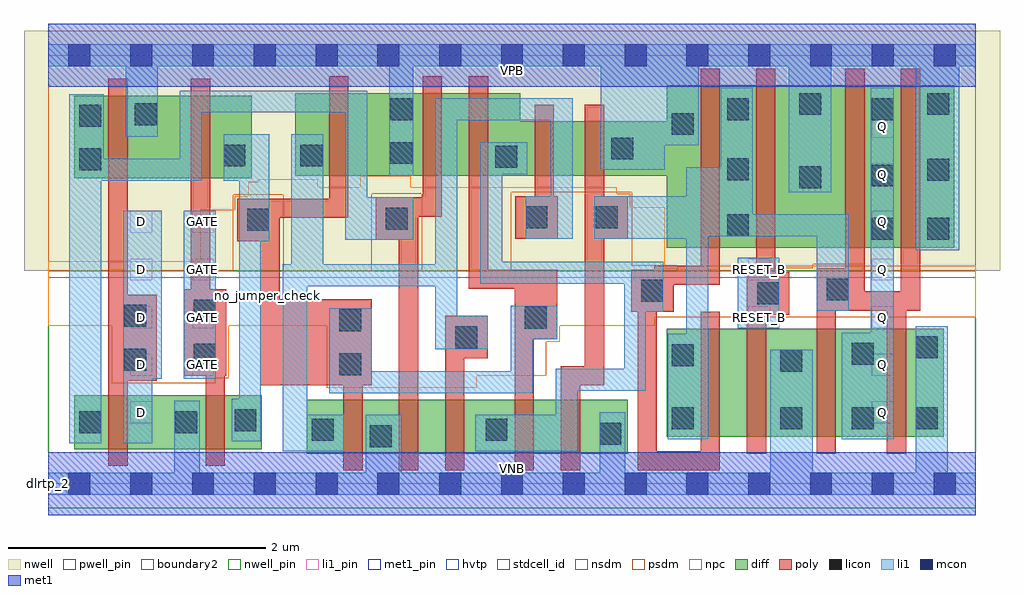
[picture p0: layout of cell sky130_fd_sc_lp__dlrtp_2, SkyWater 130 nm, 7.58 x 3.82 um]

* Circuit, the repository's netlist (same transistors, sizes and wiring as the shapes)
* Copyright 2020 The SkyWater PDK Authors
*
* Licensed under the Apache License, Version 2.0 (the "License");
* you may not use this file except in compliance with the License.
* You may obtain a copy of the License at
*
*     https://www.apache.org/licenses/LICENSE-2.0
*
* Unless required by applicable law or agreed to in writing, software
* distributed under the License is distributed on an "AS IS" BASIS,
* WITHOUT WARRANTIES OR CONDITIONS OF ANY KIND, either express or implied.
* See the License for the specific language governing permissions and
* limitations under the License.
*
* SPDX-License-Identifier: Apache-2.0

.SUBCKT sky130_fd_sc_lp__dlrtp_2 D GATE RESET_B VGND VNB VPB VPWR Q
*.PININFO D:I GATE:I RESET_B:I VGND:I VNB:I VPB:I VPWR:I Q:O
MI635 clkpos clkneg VPWR VPB sky130_fd_pr__pfet_01v8_hvt m=1 w=0.64U l=0.15U mult=1
+ sa=0.265 sb=0.265 sd=0.28 area=0.063 perim=1.14
MI17 M0 clkneg net51 VPB sky130_fd_pr__pfet_01v8_hvt m=1 w=0.64U l=0.15U mult=1
+ sa=0.265 sb=0.265 sd=0.28 area=0.063 perim=1.14
MI650 Q m1 VPWR VPB sky130_fd_pr__pfet_01v8_hvt m=2 w=1.26U l=0.15U mult=1 sa=0.265
+ sb=0.265 sd=0.28 area=0.063 perim=1.14
MI633 clkneg GATE VPWR VPB sky130_fd_pr__pfet_01v8_hvt m=1 w=0.64U l=0.15U mult=1
+ sa=0.265 sb=0.265 sd=0.28 area=0.063 perim=1.14
MI658 m1 RESET_B VPWR VPB sky130_fd_pr__pfet_01v8_hvt m=1 w=1.26U l=0.15U mult=1
+ sa=0.265 sb=0.265 sd=0.28 area=0.063 perim=1.14
MI18 net51 db VPWR VPB sky130_fd_pr__pfet_01v8_hvt m=1 w=0.64U l=0.15U mult=1 sa=0.265
+ sb=0.265 sd=0.28 area=0.063 perim=1.14
MI653 net59 m1 VPWR VPB sky130_fd_pr__pfet_01v8_hvt m=1 w=0.42U l=0.15U mult=1
+ sa=0.265 sb=0.265 sd=0.28 area=0.063 perim=1.14
MI651 M0 clkpos net59 VPB sky130_fd_pr__pfet_01v8_hvt m=1 w=0.42U l=0.15U mult=1
+ sa=0.265 sb=0.265 sd=0.28 area=0.063 perim=1.14
MI655 m1 M0 VPWR VPB sky130_fd_pr__pfet_01v8_hvt m=1 w=1.26U l=0.15U mult=1 sa=0.265
+ sb=0.265 sd=0.28 area=0.063 perim=1.14
MI638 db D VPWR VPB sky130_fd_pr__pfet_01v8_hvt m=1 w=0.64U l=0.15U mult=1 sa=0.265
+ sb=0.265 sd=0.28 area=0.063 perim=1.14
MI634 clkneg GATE VGND VNB sky130_fd_pr__nfet_01v8 m=1 w=0.42U l=0.15U mult=1 sa=0.265
+ sb=0.265 sd=0.28 area=0.063 perim=1.14
MI649 Q m1 VGND VNB sky130_fd_pr__nfet_01v8 m=2 w=0.84U l=0.15U mult=1 sa=0.265
+ sb=0.265 sd=0.28 area=0.063 perim=1.14
MI657 net86 RESET_B VGND VNB sky130_fd_pr__nfet_01v8 m=1 w=0.84U l=0.15U mult=1
+ sa=0.265 sb=0.265 sd=0.28 area=0.063 perim=1.14
MI652 M0 clkneg net102 VNB sky130_fd_pr__nfet_01v8 m=1 w=0.42U l=0.15U mult=1 sa=0.265
+ sb=0.265 sd=0.28 area=0.063 perim=1.14
MI654 net102 m1 VGND VNB sky130_fd_pr__nfet_01v8 m=1 w=0.42U l=0.15U mult=1 sa=0.265
+ sb=0.265 sd=0.28 area=0.063 perim=1.14
MI656 m1 M0 net86 VNB sky130_fd_pr__nfet_01v8 m=1 w=0.84U l=0.15U mult=1 sa=0.265
+ sb=0.265 sd=0.28 area=0.063 perim=1.14
MI636 clkpos clkneg VGND VNB sky130_fd_pr__nfet_01v8 m=1 w=0.42U l=0.15U mult=1
+ sa=0.265 sb=0.265 sd=0.28 area=0.063 perim=1.14
MI637 db D VGND VNB sky130_fd_pr__nfet_01v8 m=1 w=0.42U l=0.15U mult=1 sa=0.265
+ sb=0.265 sd=0.28 area=0.063 perim=1.14
MI19 M0 clkpos net98 VNB sky130_fd_pr__nfet_01v8 m=1 w=0.42U l=0.15U mult=1 sa=0.265
+ sb=0.265 sd=0.28 area=0.063 perim=1.14
MI20 net98 db VGND VNB sky130_fd_pr__nfet_01v8 m=1 w=0.42U l=0.15U mult=1 sa=0.265
+ sb=0.265 sd=0.28 area=0.063 perim=1.14
.ENDS sky130_fd_sc_lp__dlrtp_2

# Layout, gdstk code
import gdstk
lib = gdstk.Library(unit=1e-6, precision=1e-09)
def R(c, l, rs):  # rectangles x0, y0, x1, y1
    for r in rs: c.add(gdstk.rectangle(r[:2], r[2:], *l))
def A(c, l, x, y, w, h, nx, ny, dx, dy):  # array of equal rectangles
    R(c, l, [(x+i*dx, y+j*dy, x+i*dx+w, y+j*dy+h) for i in range(nx) for j in range(ny)])
def P(c, l, *ps):  # polygons
    for p in ps: c.add(gdstk.Polygon(p, *l))
nwell_pin = (64, 16)
nwell = (64, 20)
diff = (65, 20)
poly = (66, 20)
licon = (66, 44)
li1_pin = (67, 16)
li1 = (67, 20)
mcon = (67, 44)
met1_pin = (68, 16)
met1 = (68, 20)
hvtp = (78, 44)
stdcell_id = (81, 4)
nsdm = (93, 44)
psdm = (94, 20)
npc = (95, 20)
pwell_pin = (122, 16)
boundary2 = (236, 0)

sky130_fd_sc_lp__dlrtp_2 = lib.new_cell('sky130_fd_sc_lp__dlrtp_2')
R(sky130_fd_sc_lp__dlrtp_2, nwell_pin, [(0,3.085,7.2,3.33)])
R(sky130_fd_sc_lp__dlrtp_2, nwell, [(-0.19,1.655,7.39,3.52)])
R(sky130_fd_sc_lp__dlrtp_2, diff, [(2.005,0.235,4.5,0.655), (0.2,0.27,1.655,0.69), (4.8,0.365,6.955,1.205), (0.2,2.375,1.58,3.015)])
P(sky130_fd_sc_lp__dlrtp_2, diff, [(7.035,3.095),(4.8,3.095),(4.8,2.815),(3.665,2.815),(3.665,3.035),(1.915,3.035),(1.915,2.395),(4.8,2.395),(4.8,1.835),(7.035,1.835)])
P(sky130_fd_sc_lp__dlrtp_2, poly, [(0.84,1.47),(0.615,1.47),(0.615,3.145),(0.465,3.145),(0.465,0.14),(0.615,0.14),(0.615,0.8),(0.84,0.8)],
  [(1.38,1.51),(1.255,1.51),(1.255,3.145),(1.105,3.145),(1.105,1.51),(1.05,1.51),(1.05,0.84),(1.22,0.84),(1.22,0.14),(1.37,0.14),(1.37,0.84),(1.38,0.84)],
  [(2.51,1.435),(1.795,1.435),(1.795,2.065),(2.33,2.065),(2.33,3.165),(2.18,3.165),(2.18,2.215),(1.465,2.215),(1.465,1.885),(1.645,1.885),(1.645,0.765),(2.29,0.765),(2.29,0.105),(2.44,0.105),(2.44,0.765),(2.51,0.765)],
  [(3.055,3.165),(2.905,3.165),(2.905,2.225),(2.54,2.225),(2.54,1.895),(2.72,1.895),(2.72,0.105),(2.87,0.105),(2.87,2.075),(3.055,2.075)],
  [(3.41,1.305),(3.08,1.305),(3.08,0.105),(3.23,0.105),(3.23,0.975),(3.41,0.975)],
  [(3.95,1.665),(3.415,1.665),(3.415,3.165),(3.265,3.165),(3.265,1.515),(3.62,1.515),(3.62,0.105),(3.77,0.105),(3.77,1.125),(3.95,1.125)],
  [(3.955,2.235),(3.925,2.235),(3.925,2.945),(3.775,2.945),(3.775,2.235),(3.625,2.235),(3.625,1.905),(3.955,1.905)],
  [(4.5,2.235),(4.315,2.235),(4.315,2.945),(4.165,2.945),(4.165,0.915),(3.98,0.915),(3.98,0.105),(4.13,0.105),(4.13,0.765),(4.315,0.765),(4.315,1.905),(4.5,1.905)],
  [(5.215,1.335),(5.065,1.335),(5.065,0.255),(4.725,0.255),(4.725,1.335),(4.855,1.335),(4.855,1.545),(5.215,1.545),(5.215,3.225),(5.065,3.225),(5.065,1.695),(4.705,1.695),(4.705,1.665),(4.525,1.665),(4.525,1.335),(4.575,1.335),(4.575,0.105),(5.215,0.105)],
  [(5.755,1.645),(5.645,1.645),(5.645,3.225),(5.495,3.225),(5.495,1.645),(5.425,1.645),(5.425,0.235),(5.575,0.235),(5.575,1.315),(5.755,1.315)],
  [(6.77,3.225),(6.62,3.225),(6.62,1.495),(6.34,1.495),(6.34,3.225),(6.19,3.225),(6.19,1.675),(5.965,1.675),(5.965,0.235),(6.115,0.235),(6.115,1.345),(6.51,1.345),(6.51,0.235),(6.66,0.235),(6.66,1.345),(6.77,1.345)])
R(sky130_fd_sc_lp__dlrtp_2, licon, [(2.495,0.285,2.665,0.455), (4.28,0.305,4.45,0.475), (2.045,0.335,2.215,0.505), (3.395,0.335,3.565,0.505), (0.24,0.395,0.41,0.565), (0.985,0.395,1.155,0.565), (1.445,0.41,1.615,0.58), (4.84,0.425,5.01,0.595), (5.685,0.425,5.855,0.595), (6.24,0.425,6.41,0.595), (6.735,0.425,6.905,0.595), (2.26,0.845,2.43,1.015), (5.685,0.87,5.855,1.04), (0.59,0.88,0.76,1.05), (4.84,0.915,5.01,1.085), (1.13,0.92,1.3,1.09), (6.24,0.925,6.41,1.095), (6.735,0.975,6.905,1.145), (3.16,1.055,3.33,1.225), (2.26,1.185,2.43,1.355), (3.7,1.205,3.87,1.375), (0.59,1.22,0.76,1.39), (1.13,1.26,1.3,1.43), (5.505,1.395,5.675,1.565), (4.605,1.415,4.775,1.585), (6.045,1.425,6.215,1.595), (6.395,1.895,6.565,2.065), (6.825,1.895,6.995,2.065), (5.27,1.925,5.44,2.095), (1.545,1.965,1.715,2.135), (2.62,1.975,2.79,2.145), (3.705,1.985,3.875,2.155), (4.25,1.985,4.42,2.155), (5.83,2.295,6,2.465), (6.395,2.31,6.565,2.48), (6.825,2.355,6.995,2.525), (5.27,2.36,5.44,2.53), (0.24,2.435,0.41,2.605), (3.47,2.455,3.64,2.625), (1.36,2.465,1.53,2.635), (1.955,2.465,2.125,2.635), (2.655,2.485,2.825,2.655), (4.37,2.52,4.54,2.69), (4.84,2.71,5.01,2.88), (0.24,2.775,0.41,2.945), (0.67,2.785,0.84,2.955), (2.655,2.825,2.825,2.995), (5.27,2.825,5.44,2.995), (6.395,2.825,6.565,2.995), (5.83,2.865,6,3.035), (6.825,2.865,6.995,3.035)])
A(sky130_fd_sc_lp__dlrtp_2, li1_pin, 0.635, 0.47, 0.17, 0.17, 1, 5, 0, 0.37)
A(sky130_fd_sc_lp__dlrtp_2, li1_pin, 6.395, 0.47, 0.17, 0.17, 1, 7, 0, 0.37)
A(sky130_fd_sc_lp__dlrtp_2, li1_pin, 1.115, 0.84, 0.17, 0.17, 1, 4, 0, 0.37)
R(sky130_fd_sc_lp__dlrtp_2, li1_pin, [(5.435,1.21,5.605,1.38), (5.435,1.58,5.605,1.75)])
R(sky130_fd_sc_lp__dlrtp_2, li1, [(1.05,0.815,1.3,2.12), (5.355,1.21,5.675,1.755)])
P(sky130_fd_sc_lp__dlrtp_2, li1, [(0.88,2.12),(0.58,2.12),(0.58,0.315),(0.805,0.315),(0.805,0.815),(0.88,0.815)],
  [(2.475,3.055),(2.475,2.225),(2.835,2.225),(2.835,1.895),(2.305,1.895),(2.305,2.885),(1.19,2.885),(1.19,2.355),(0.41,2.355),(0.41,0.315),(0.16,0.315),(0.16,3.025),(0.43,3.025),(0.43,2.525),(1.02,2.525),(1.02,3.055)],
  [(4.28,0.085),(4.28,0.555),(4.48,0.555),(4.48,0.085),(5.605,0.085),(5.605,1.04),(5.935,1.04),(5.935,0.085),(6.735,0.085),(6.735,1.225),(6.985,1.225),(6.985,0.085),(7.2,0.085),(7.2,-0.085),(0,-0.085),(0,0.085),(0.975,0.085),(0.975,0.645),(1.175,0.645),(1.175,0.085),(2.465,0.085),(2.465,0.535),(2.745,0.535),(2.745,0.085)],
  [(1.715,1.885),(1.65,1.885),(1.65,0.33),(1.425,0.33),(1.425,0.66),(1.48,0.66),(1.48,2.355),(1.36,2.355),(1.36,2.715),(1.715,2.715)],
  [(6.16,0.345),(6.16,1.175),(6.385,1.175),(6.385,3.075),(6.565,3.075),(6.565,0.345)],
  [(4.07,2.995),(4.07,1.905),(3.705,1.905),(3.705,2.235),(3.9,2.235),(3.9,2.825),(3.175,2.825),(3.175,1.305),(3.41,1.305),(3.41,1.045),(3.005,1.045),(3.005,1.535),(2.01,1.535),(2.01,0.535),(2.295,0.535),(2.295,0.255),(1.82,0.255),(1.82,1.705),(1.885,1.705),(1.885,2.715),(2.135,2.715),(2.135,1.705),(3.005,1.705),(3.005,2.995)],
  [(3.315,0.255),(3.315,0.535),(3.94,0.535),(3.94,0.895),(4.47,0.895),(4.47,1.555),(3.355,1.555),(3.355,2.655),(3.72,2.655),(3.72,2.405),(3.525,2.405),(3.525,1.725),(4.775,1.725),(4.775,1.335),(4.64,1.335),(4.64,0.725),(4.11,0.725),(4.11,0.255)],
  [(6.215,2.095),(5.47,2.095),(5.47,3.075),(5.22,3.075),(5.22,2.46),(4.955,2.46),(4.955,2.235),(4.24,2.235),(4.24,1.905),(4.955,1.905),(4.955,1.165),(4.81,1.165),(4.81,0.345),(5.125,0.345),(5.125,1.925),(5.965,1.925),(5.965,1.345),(6.215,1.345)],
  [(2.51,0.875),(3.59,0.875),(3.59,1.385),(3.95,1.385),(3.95,1.125),(3.76,1.125),(3.76,0.705),(2.18,0.705),(2.18,1.365),(2.51,1.365)],
  [(7.2,3.415),(0,3.415),(0,3.245),(0.6,3.245),(0.6,2.695),(0.85,2.695),(0.85,3.245),(2.645,3.245),(2.645,2.395),(2.835,2.395),(2.835,3.245),(4.29,3.245),(4.29,2.44),(4.785,2.44),(4.785,2.63),(5.05,2.63),(5.05,3.245),(5.75,3.245),(5.75,2.265),(6.08,2.265),(6.08,3.245),(6.735,3.245),(6.735,1.815),(7.075,1.815),(7.075,3.245),(7.2,3.245)])
A(sky130_fd_sc_lp__dlrtp_2, mcon, 0.155, -0.085, 0.17, 0.17, 15, 2, 0.48, 3.33)
R(sky130_fd_sc_lp__dlrtp_2, met1_pin, [(0,0,7.2,0.245), (0,3.085,7.2,3.33)])
R(sky130_fd_sc_lp__dlrtp_2, met1, [(0,-0.245,7.2,0.245), (0,3.085,7.2,3.575)])
R(sky130_fd_sc_lp__dlrtp_2, hvtp, [(0,1.6,7.2,3.33)])
R(sky130_fd_sc_lp__dlrtp_2, stdcell_id, [(0,0,7.2,3.33)])
R(sky130_fd_sc_lp__dlrtp_2, nsdm, [(0,-0.19,7.2,1.655)])
P(sky130_fd_sc_lp__dlrtp_2, psdm, [(7.2,3.52),(0,3.52),(0,1.655),(1.435,1.655),(1.435,2.245),(1.825,2.245),(1.825,1.655),(2.51,1.655),(2.51,2.255),(2.9,2.255),(2.9,1.655),(3.595,1.655),(3.595,2.265),(4.53,2.265),(4.53,1.695),(4.885,1.695),(4.885,1.655),(5.395,1.655),(5.395,1.675),(5.935,1.675),(5.935,1.705),(6.325,1.705),(6.325,1.655),(7.2,1.655)])
P(sky130_fd_sc_lp__dlrtp_2, npc, [(7.2,1.695),(4.785,1.695),(4.785,2.15),(4.52,2.15),(4.52,2.255),(4.415,2.255),(4.415,2.305),(2.815,2.305),(2.815,2.395),(2.42,2.395),(2.42,2.305),(2.09,2.305),(2.09,2.365),(1.63,2.365),(1.63,2.345),(1.55,2.345),(1.55,2.235),(1.445,2.235),(1.445,2.13),(1.18,2.13),(1.18,1.73),(0,1.73),(0,1.23),(0.49,1.23),(0.49,0.78),(1.295,0.78),(1.295,0.82),(1.4,0.82),(1.4,1.23),(2.16,1.23),(2.16,0.745),(3.325,0.745),(3.325,0.84),(3.865,0.84),(3.865,1.105),(3.97,1.105),(3.97,1.23),(4.71,1.23),(4.71,1.295),(7.2,1.295)])
R(sky130_fd_sc_lp__dlrtp_2, pwell_pin, [(0,0,7.2,0.245)])
R(sky130_fd_sc_lp__dlrtp_2, boundary2, [(0,0,7.2,3.33)])
sky130_fd_sc_lp__dlrtp_2.add(gdstk.Label('VNB', (3.6,0.123), layer=64, texttype=59))
sky130_fd_sc_lp__dlrtp_2.add(gdstk.Label('VPB', (3.6,3.208), layer=64, texttype=5))
sky130_fd_sc_lp__dlrtp_2.add(gdstk.Label('dlrtp_2', (0,0), layer=83, texttype=44))
sky130_fd_sc_lp__dlrtp_2.add(gdstk.Label('no_jumper_check', (1.7,1.46), layer=83, texttype=44))
sky130_fd_sc_lp__dlrtp_2.add(gdstk.Label('VPWR', (3.6,3.208), layer=68, texttype=5))
sky130_fd_sc_lp__dlrtp_2.add(gdstk.Label('VGND', (3.6,0.123), layer=68, texttype=5))
sky130_fd_sc_lp__dlrtp_2.add(gdstk.Label('D', (0.72,0.555), layer=67, texttype=5))
sky130_fd_sc_lp__dlrtp_2.add(gdstk.Label('D', (0.72,0.925), layer=67, texttype=5))
sky130_fd_sc_lp__dlrtp_2.add(gdstk.Label('D', (0.72,1.295), layer=67, texttype=5))
sky130_fd_sc_lp__dlrtp_2.add(gdstk.Label('D', (0.72,1.665), layer=67, texttype=5))
sky130_fd_sc_lp__dlrtp_2.add(gdstk.Label('D', (0.72,2.035), layer=67, texttype=5))
sky130_fd_sc_lp__dlrtp_2.add(gdstk.Label('GATE', (1.2,0.925), layer=67, texttype=5))
sky130_fd_sc_lp__dlrtp_2.add(gdstk.Label('GATE', (1.2,1.295), layer=67, texttype=5))
sky130_fd_sc_lp__dlrtp_2.add(gdstk.Label('GATE', (1.2,1.665), layer=67, texttype=5))
sky130_fd_sc_lp__dlrtp_2.add(gdstk.Label('GATE', (1.2,2.035), layer=67, texttype=5))
sky130_fd_sc_lp__dlrtp_2.add(gdstk.Label('Q', (6.48,0.555), layer=67, texttype=5))
sky130_fd_sc_lp__dlrtp_2.add(gdstk.Label('Q', (6.48,0.925), layer=67, texttype=5))
sky130_fd_sc_lp__dlrtp_2.add(gdstk.Label('Q', (6.48,1.295), layer=67, texttype=5))
sky130_fd_sc_lp__dlrtp_2.add(gdstk.Label('Q', (6.48,1.665), layer=67, texttype=5))
sky130_fd_sc_lp__dlrtp_2.add(gdstk.Label('Q', (6.48,2.035), layer=67, texttype=5))
sky130_fd_sc_lp__dlrtp_2.add(gdstk.Label('Q', (6.48,2.405), layer=67, texttype=5))
sky130_fd_sc_lp__dlrtp_2.add(gdstk.Label('Q', (6.48,2.775), layer=67, texttype=5))
sky130_fd_sc_lp__dlrtp_2.add(gdstk.Label('RESET_B', (5.52,1.295), layer=67, texttype=5))
sky130_fd_sc_lp__dlrtp_2.add(gdstk.Label('RESET_B', (5.52,1.665), layer=67, texttype=5))

lib.write_gds('sky130_fd_sc_lp__dlrtp_2.gds')
